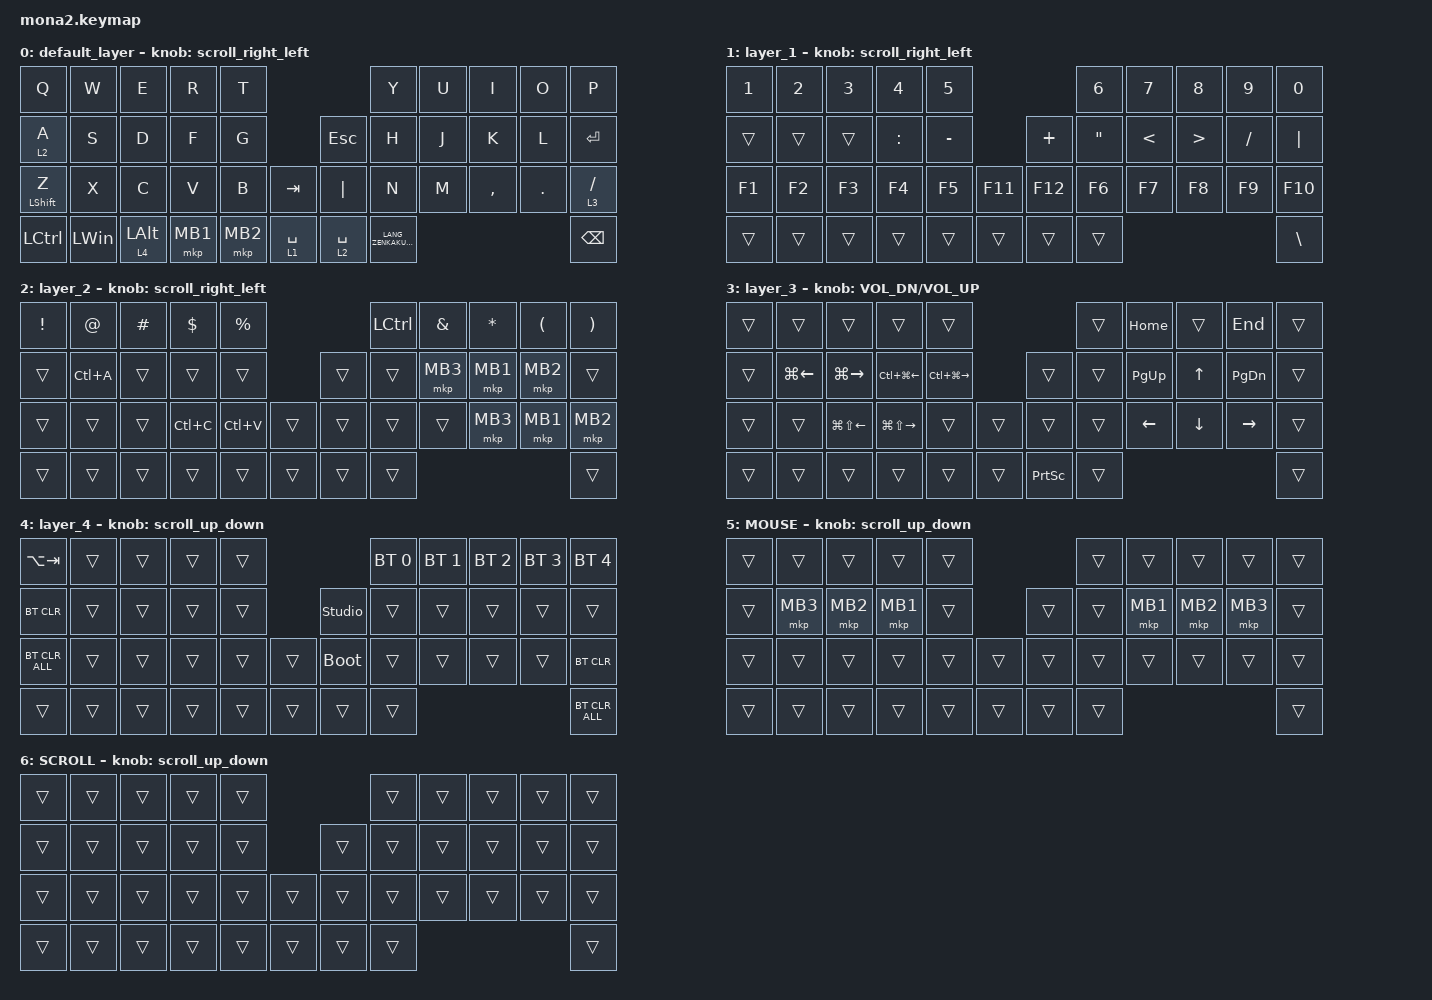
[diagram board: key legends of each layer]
#include <input/processors.dtsi>
#include <dt-bindings/zmk/input_transform.h>
#include <zephyr/dt-bindings/input/input-event-codes.h>
#include <behaviors.dtsi>
#include <dt-bindings/zmk/bt.h>
#include <dt-bindings/zmk/keys.h>
#include <dt-bindings/zmk/pointing.h>

#define ZMK_POINTING_DEFAULT_SCRL_VAL 100
#define MOUSE 5
#define SCROLL 6

&mt {
    flavor = "balanced";
    quick-tap-ms = <0>;
};

&lt {
    quick-tap-ms = <300>;
    flavor = "balanced";
};

/ {
    combos {
        compatible = "zmk,combos";

        layer4_ESC {
            bindings = <&lt 4 ESC>;
            key-positions = <39 38>;
        };

        alt {
            bindings = <&kp LEFT_ALT>;
            key-positions = <37 38>;
        };
    };

    macros {
        to_layer_0: to_layer_0 {
            compatible = "zmk,behavior-macro-one-param";
            #binding-cells = <1>;
            bindings = <&to 0 &macro_param_1to1 &kp MACRO_PLACEHOLDER>;
            label = "TO_LAYER_0";
        };
    };

    behaviors {
        lt_to_layer_0: lt_to_layer_0 {
            compatible = "zmk,behavior-hold-tap";
            label = "LAYER_TAP_TO_0";
            bindings = <&mo>, <&to_layer_0>;

            #binding-cells = <2>;
            tapping-term-ms = <200>;
        };

        scroll_up_down: mouse_wheel_up_down {
            compatible = "zmk,behavior-sensor-rotate";
            #sensor-binding-cells = <0>;
            bindings = <&msc SCRL_DOWN>, <&msc SCRL_UP>;

            tap-ms = <20>;
        };

        scroll_right_left: mouse_wheel_right_left {
            compatible = "zmk,behavior-sensor-rotate";
            #sensor-binding-cells = <0>;
            bindings = <&msc SCRL_LEFT>, <&msc SCRL_RIGHT>;

            tap-ms = <20>;
        };
    };

    keymap {
        compatible = "zmk,keymap";

        default_layer {
            bindings = <
&kp Q               &kp W         &kp E                      &kp R     &kp T                                                       &kp Y                    &kp U  &kp I      &kp O    &kp P
&lt_to_layer_0 2 A  &kp S         &kp D                      &kp F     &kp G                               &kp ESC                 &kp H                    &kp J  &kp K      &kp L    &kp ENTER
&mt LEFT_SHIFT Z    &kp X         &kp C                      &kp V     &kp B     &kp TAB                   &kp PIPE                &kp N                    &kp M  &kp COMMA  &kp DOT  &lt_to_layer_0 3 SLASH
&kp LCTRL           &kp LEFT_WIN  &lt_to_layer_0 4 LEFT_ALT  &mkp MB1  &mkp MB2  &lt_to_layer_0 1 SPACE    &lt_to_layer_0 2 SPACE  &kp LANG_ZENKAKUHANKAKU                             &kp BACKSPACE
            >;

            sensor-bindings = <&scroll_right_left>;
        };

        layer_1 {
            bindings = <
&kp NUMBER_1  &kp NUMBER_2  &kp NUMBER_3  &kp NUMBER_4  &kp NUMBER_5                       &kp NUMBER_6       &kp NUMBER_7   &kp NUMBER_8      &kp NUMBER_9  &kp NUMBER_0
&trans        &trans        &trans        &kp COLON     &kp MINUS                &kp PLUS  &kp DOUBLE_QUOTES  &kp LESS_THAN  &kp GREATER_THAN  &kp SLASH     &kp PIPE
&kp F1        &kp F2        &kp F3        &kp F4        &kp F5        &kp F11    &kp F12   &kp F6             &kp F7         &kp F8            &kp F9        &kp F10
&trans        &trans        &trans        &trans        &trans        &trans     &trans    &trans                                                            &kp BACKSLASH
            >;

            sensor-bindings = <&scroll_right_left>;
        };

        layer_2 {
            bindings = <
&kp EXCLAMATION  &kp AT_SIGN  &kp HASH  &kp DOLLAR  &kp PERCENT                    &kp LCTRL  &kp AMPERSAND  &kp ASTERISK  &kp LEFT_PARENTHESIS  &kp RIGHT_PARENTHESIS
&trans           &kp LC(A)    &trans    &trans      &trans                 &trans  &trans     &mkp MB3       &mkp MB1      &mkp MB2              &trans
&trans           &trans       &trans    &kp LC(C)   &kp LC(V)    &trans    &trans  &trans     &trans         &mkp MB3      &mkp MB1              &mkp MB2
&trans           &trans       &trans    &trans      &trans       &trans    &trans  &trans                                                        &trans
            >;

            sensor-bindings = <&scroll_right_left>;
        };

        layer_3 {
            bindings = <
&trans  &trans              &trans                  &trans                   &trans                                              &trans  &kp HOME     &trans    &kp END        &trans
&trans  &kp LG(LEFT_ARROW)  &kp LG(RIGHT_ARROW)     &kp LC(LG(LEFT_ARROW))   &kp LC(LG(RIGHT_ARROW))            &trans           &trans  &kp PAGE_UP  &kp UP    &kp PAGE_DOWN  &trans
&trans  &trans              &kp LG(LS(LEFT_ARROW))  &kp LG(LS(RIGHT_ARROW))  &trans                   &trans    &trans           &trans  &kp LEFT     &kp DOWN  &kp RIGHT      &trans
&trans  &trans              &trans                  &trans                   &trans                   &trans    &kp PRINTSCREEN  &trans                                        &trans
            >;

            sensor-bindings = <&inc_dec_kp C_VOL_DN C_VOL_UP>;
        };

        layer_4 {
            bindings = <
&kp LA(TAB)     &trans  &trans  &trans  &trans                            &bt BT_SEL 0  &bt BT_SEL 1  &bt BT_SEL 2  &bt BT_SEL 3  &bt BT_SEL 4
&bt BT_CLR      &trans  &trans  &trans  &trans            &studio_unlock  &trans        &trans        &trans        &trans        &trans
&bt BT_CLR_ALL  &trans  &trans  &trans  &trans  &trans    &bootloader     &trans        &trans        &trans        &trans        &bt BT_CLR
&trans          &trans  &trans  &trans  &trans  &trans    &trans          &trans                                                  &bt BT_CLR_ALL
            >;

            sensor-bindings = <&scroll_up_down>;
        };

        MOUSE {
            bindings = <
&trans  &trans    &trans    &trans    &trans                    &trans  &trans    &trans    &trans    &trans
&trans  &mkp MB3  &mkp MB2  &mkp MB1  &trans            &trans  &trans  &mkp MB1  &mkp MB2  &mkp MB3  &trans
&trans  &trans    &trans    &trans    &trans  &trans    &trans  &trans  &trans    &trans    &trans    &trans
&trans  &trans    &trans    &trans    &trans  &trans    &trans  &trans                                &trans
            >;

            sensor-bindings = <&scroll_up_down>;
        };

        SCROLL {
            bindings = <
&trans  &trans  &trans  &trans  &trans                    &trans  &trans  &trans  &trans  &trans
&trans  &trans  &trans  &trans  &trans            &trans  &trans  &trans  &trans  &trans  &trans
&trans  &trans  &trans  &trans  &trans  &trans    &trans  &trans  &trans  &trans  &trans  &trans
&trans  &trans  &trans  &trans  &trans  &trans    &trans  &trans                          &trans
            >;

            sensor-bindings = <&scroll_up_down>;
        };
    };
};
